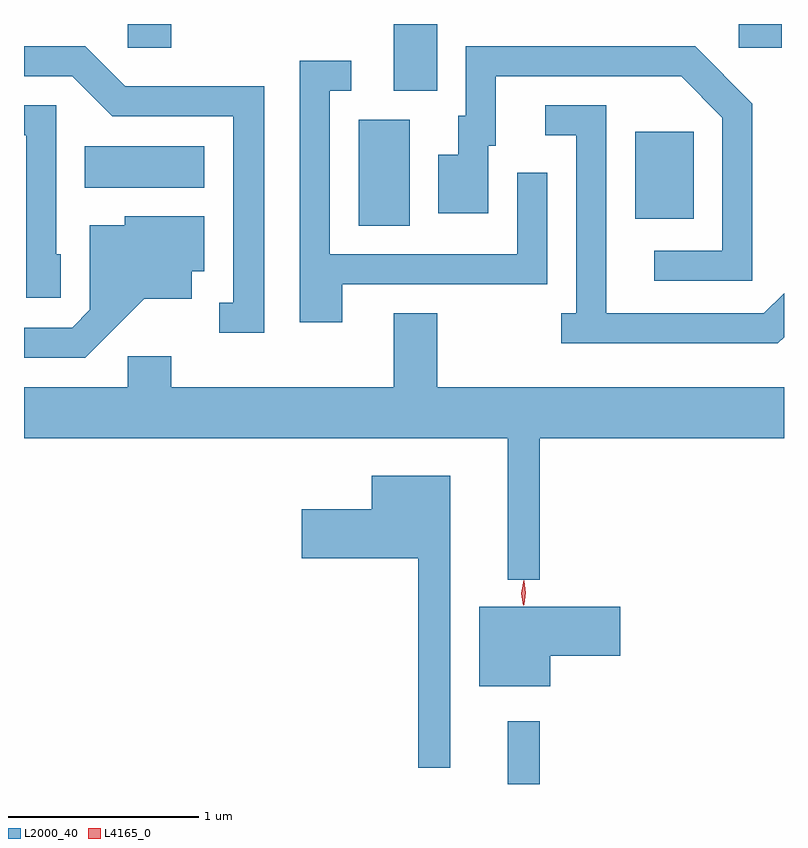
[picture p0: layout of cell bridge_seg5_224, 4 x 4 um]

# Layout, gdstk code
import gdstk
lib = gdstk.Library(unit=1e-6, precision=1e-09)
def R(c, l, rs):  # rectangles x0, y0, x1, y1
    for r in rs: c.add(gdstk.rectangle(r[:2], r[2:], *l))
def P(c, l, *ps):  # polygons
    for p in ps: c.add(gdstk.Polygon(p, *l))
L2000_40 = (2000, 40)
L4165_0 = (4165, 0)

bridge_seg5_224 = lib.new_cell('bridge_seg5_224')
R(bridge_seg5_224, L2000_40, [(1344.881,1441.657,1345.049,1441.988), (1344.096,1444.596,1344.364,1445.154), (1345.551,1444.631,1345.859,1445.089), (1342.656,1444.796,1343.284,1445.014), (1344.281,1445.306,1344.509,1445.657), (1342.881,1445.531,1343.109,1445.657), (1346.096,1445.531,1346.324,1445.657)])
P(bridge_seg5_224, L2000_40, [(1346.169,1445.237),(1345.867,1445.539),(1344.661,1445.539),(1344.661,1445.174),(1344.621,1445.174),(1344.621,1444.969),(1344.516,1444.969),(1344.516,1444.661),(1344.779,1444.661),(1344.779,1445.016),(1344.819,1445.016),(1344.819,1445.381),(1345.794,1445.381),(1346.011,1445.164),(1346.011,1444.464),(1345.653,1444.464),(1345.653,1444.306),(1346.169,1444.306)],
  [(1343.599,1445.329),(1342.867,1445.329),(1342.657,1445.539),(1342.335,1445.539),(1342.335,1445.381),(1342.589,1445.381),(1342.799,1445.171),(1343.436,1445.171),(1343.436,1444.189),(1343.363,1444.189),(1343.363,1444.031),(1343.599,1444.031)],
  [(1344.009,1444.286),(1345.089,1444.286),(1345.089,1444.873),(1344.931,1444.873),(1344.931,1444.444),(1343.944,1444.444),(1343.944,1445.306),(1344.058,1445.306),(1344.058,1445.464),(1343.786,1445.464),(1343.786,1444.086),(1344.009,1444.086)],
  [(1346.335,1444.009),(1346.335,1444.241),(1346.229,1444.134),(1345.399,1444.134),(1345.399,1445.229),(1345.078,1445.229),(1345.078,1445.071),(1345.241,1445.071),(1345.241,1444.134),(1345.163,1444.134),(1345.163,1443.976),(1346.302,1443.976)],
  [(1342.529,1444.444),(1342.504,1444.444),(1342.504,1445.229),(1342.335,1445.229),(1342.335,1445.071),(1342.346,1445.071),(1342.346,1444.216),(1342.529,1444.216)],
  [(1342.967,1444.211),(1343.219,1444.211),(1343.219,1444.356),(1343.284,1444.356),(1343.284,1444.644),(1342.866,1444.644),(1342.866,1444.599),(1342.681,1444.599),(1342.681,1444.152),(1342.589,1444.059),(1342.335,1444.059),(1342.335,1443.901),(1342.657,1443.901)],
  [(1345.049,1443.476),(1346.335,1443.476),(1346.335,1443.744),(1344.509,1443.744),(1344.509,1444.134),(1344.281,1444.134),(1344.281,1443.744),(1343.109,1443.744),(1343.109,1443.909),(1342.881,1443.909),(1342.881,1443.744),(1342.335,1443.744),(1342.335,1443.476),(1344.881,1443.476),(1344.881,1442.733),(1345.049,1442.733)],
  [(1344.579,1443.279),(1344.166,1443.279),(1344.166,1443.104),(1343.796,1443.104),(1343.796,1442.846),(1344.411,1442.846),(1344.411,1441.743),(1344.579,1441.743)],
  [(1345.104,1442.331),(1345.474,1442.331),(1345.474,1442.589),(1344.731,1442.589),(1344.731,1442.171),(1345.104,1442.171)])
P(bridge_seg5_224, L4165_0, [(1344.962,1442.594),(1344.962,1442.594),(1344.953,1442.662),(1344.964,1442.73),(1344.964,1442.73),(1344.964,1442.73),(1344.973,1442.662),(1344.963,1442.594)],
  [(1344.966,1442.6),(1344.957,1442.664),(1344.966,1442.726),(1344.967,1442.727),(1344.967,1442.726),(1344.977,1442.664),(1344.967,1442.6),(1344.967,1442.6)])

lib.write_gds('bridge_seg5_224.gds')
